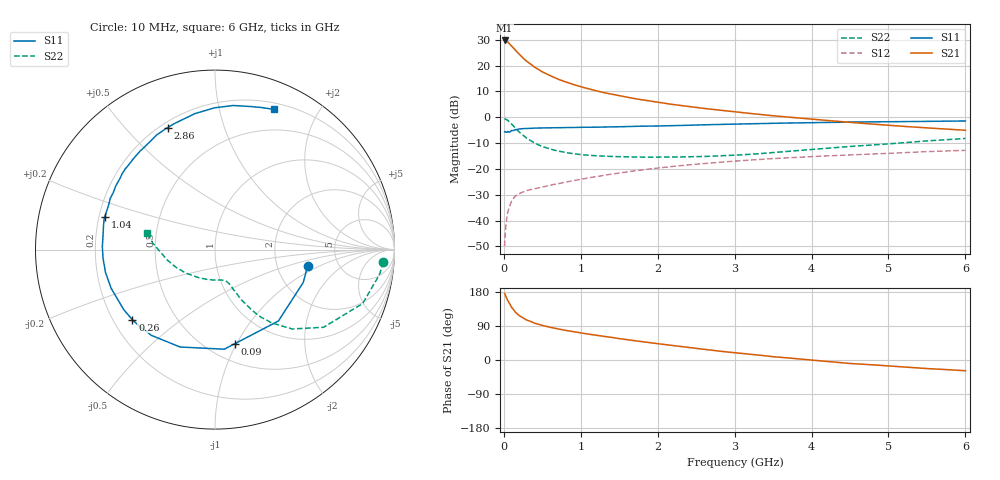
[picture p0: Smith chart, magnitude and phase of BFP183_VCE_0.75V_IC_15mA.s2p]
! Infineon Technologies  Discrete & RF Semiconductors
! BFP183
! VCE = 0.75V,  IC =  15 mA
! Common Emitter S-Parameters:  Jan 2016
# GHz  S  MA  R  50
!  f  S11  S21  S12  S22
! GHz  MAG  ANG  MAG  ANG  MAG  ANG  MAG  ANG
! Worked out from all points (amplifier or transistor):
!   210 points, 10 MHz to 6 GHz, reference 50 ohm
!   highest |S21| = 29.7 dB at 10 MHz (marker M1)
!   |S21| within 3 dB of that: start of sweep to 127.2 MHz
!   unconditionally stable (mu >= 1): 674.4 MHz to end of sweep
!   at 185 MHz: K = 0.40, MSG = 27.4 dB, |S12| = -29.8 dB
!   at 1.52 GHz: K = 1.29, MAG = 11.7 dB, |S12| = -21.5 dB
!   at 6 GHz: K = 1.10, MAG = 2.0 dB, |S12| = -12.8 dB
!   S11 on the Smith chart (normalised r, x): 10 MHz: 2.99, -0.76; 90 MHz: 0.67, -0.99; 260 MHz: 0.28, -0.34; 1.04 GHz: 0.22, +0.14; 2.86 GHz: 0.23, +0.66; 6 GHz: 0.27, +1.47
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0.01  0.524 -10.1  30.66 175.4  0.0032 80.0  0.9386 -4.2
0.02  0.5247 -20.4  30.5 170.8  0.0061 82.2  0.928 -8.4
0.05  0.532 -48.4  28.9 157.1  0.0144 73.6  0.8759 -20.1
0.09  0.5354 -77.9  24.89 143.4  0.0217 59.6  0.765 -32.1
0.1  0.5574 -84.7  24.16 139.3  0.0237 57.5  0.7435 -35.6
0.15  0.5764 -109.7  19.92 126.1  0.0299 49.9  0.617 -45.8
0.2  0.5949 -126.5  16.56 117.0  0.0332 44.2  0.5176 -52.2
0.24  0.6003 -135.7  14.46 111.9  0.0354 42.3  0.4599 -55.5
0.26  0.6039 -139.7  13.57 109.5  0.0364 41.8  0.4347 -56.8
0.3  0.6086 -146.7  12.04 105.2  0.0383 41.5  0.3904 -58.8
0.4  0.6176 -159.6  9.326 97.0  0.0413 40.3  0.3157 -62.3
0.5  0.6232 -168.3  7.559 91.2  0.0448 40.3  0.2708 -64.1
0.7  0.6279 178.6  5.479 82.1  0.0514 43.3  0.2222 -66.2
1.02  0.6404 164.0  3.822 70.9  0.0635 45.5  0.1882 -70.2
1.04  0.6403 163.3  3.754 70.3  0.0645 45.7  0.187 -70.5
1.5  0.6567 147.5  2.612 56.4  0.0834 46.4  0.1725 -78.8
2.02  0.6804 131.9  1.926 42.5  0.1049 43.9  0.1699 -92.3
2.86  0.7293 111.2  1.343 22.1  0.1367 37.5  0.1808 -119.8
3.1  0.7413 106.1  1.23 17.3  0.1449 35.4  0.1876 -128.2
4.1  0.7927 88.7  0.893 -2.0  0.1762 26.4  0.2435 -157.9
5.1  0.8218 75.9  0.681 -16.9  0.203 18.6  0.3136 -179.7
6  0.8477 67.1  0.561 -28.3  0.2289 10.1  0.3887 166.2
